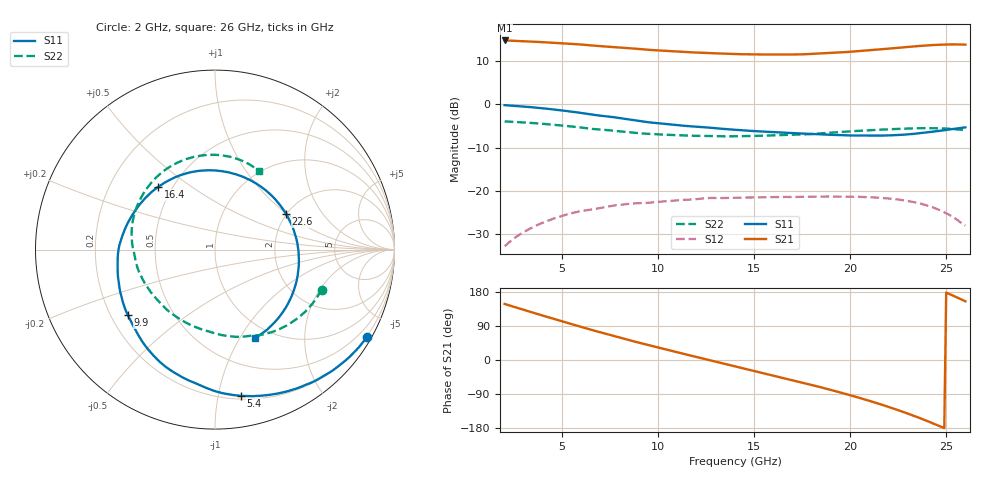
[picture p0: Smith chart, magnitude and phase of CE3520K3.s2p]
! CEL
! CE3520K3
! N-channel HJ-FET
! Vds = 3 V Id = 20 mA
# Hz S  MA  R 50
!	f	S11	S21	S12	S22
!	Hz	MAG	ANG	MAG	ANG	MAG	ANG	MAG	ANG
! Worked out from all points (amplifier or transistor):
!   241 points, 2 GHz to 26 GHz, reference 50 ohm
!   highest |S21| = 14.8 dB at 2 GHz (marker M1)
!   |S21| within 3 dB of that: start of sweep to 13.13 GHz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
!   unconditionally stable (mu >= 1): 13.25 GHz to 17.45 GHz; 25.53 GHz to end of sweep
!   at 6 GHz: K = 0.61, MSG = 19.2 dB, |S12| = -24.7 dB
!   at 14 GHz: K = 1.02, MAG = 15.8 dB, |S12| = -21.6 dB
!   at 26 GHz: K = 1.20, MAG = 18.3 dB, |S12| = -28.1 dB
!   S11 on the Smith chart (normalised r, x): 2 GHz: 0.17, -3.75; 5.4 GHz: 0.23, -1.17; 9.9 GHz: 0.27, -0.31; 16.4 GHz: 0.42, +0.38; 22.6 GHz: 1.98, +0.98; 26 GHz: 0.84, -1.17
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2e9  0.9776 -29.8  5.471 148.0  0.02291 69.1  0.6346 -20.7
2.9e9  0.9465 -43.1  5.375 133.9  0.03233 60.0  0.6184 -30.1
3.6e9  0.9173 -53.5  5.285 123.1  0.03925 53.4  0.6035 -37.3
4.5e9  0.8741 -66.6  5.152 109.5  0.04733 44.9  0.5814 -46.6
5.4e9  0.8277 -79.9  5.011 96.0  0.05436 36.7  0.5567 -55.8
6e9  0.7935 -88.8  4.907 87.2  0.05834 30.8  0.5384 -61.9
8e9  0.6926 -117.4  4.541 59.2  0.06883 15.5  0.4866 -81.5
9.9e9  0.6071 -143.2  4.21 34.2  0.07411 2.6  0.4504 -99.7
1e10  0.6045 -144.6  4.199 32.9  0.07452 1.7  0.4491 -100.7
1.2e10  0.5491 -171.2  3.963 7.9  0.08011 -10.3  0.4318 -120.5
1.4e10  0.5074 162.6  3.812 -16.7  0.0832 -23.5  0.4265 -140.2
1.64e10  0.4719 132.4  3.761 -46.0  0.08491 -37.0  0.4405 -163.5
1.8e10  0.4543 110.8  3.825 -65.8  0.08549 -46.1  0.4535 -178.8
1.93e10  0.4419 91.3  3.954 -83.1  0.08578 -54.5  0.4757 167.5
2.03e10  0.4354 74.5  4.092 -97.3  0.08537 -61.9  0.4912 156.0
2.12e10  0.4338 57.4  4.245 -110.9  0.08383 -69.4  0.5037 144.7
2.2e10  0.437 40.5  4.399 -123.8  0.08152 -77.4  0.5146 133.7
2.26e10  0.4428 26.8  4.521 -134.2  0.07878 -83.9  0.5221 124.7
2.35e10  0.4602 4.3  4.704 -150.9  0.07241 -95.7  0.5287 110.1
2.45e10  0.4888 -22.6  4.866 -171.2  0.06189 -112.9  0.5281 91.6
2.52e10  0.5133 -42.4  4.922 173.5  0.05221 -129.6  0.521 77.5
2.6e10  0.5407 -65.4  4.891 154.9  0.03952 -157.2  0.5016 60.5
